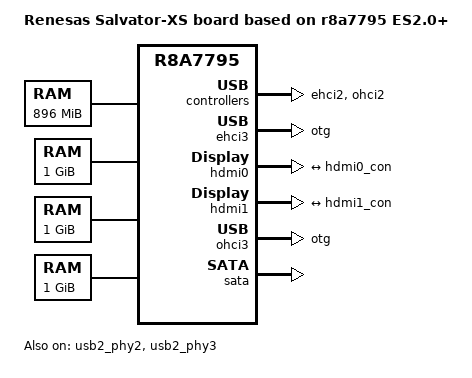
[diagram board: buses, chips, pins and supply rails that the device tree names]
// SPDX-License-Identifier: GPL-2.0
/*
 * Device Tree Source for the Salvator-XS board
 *
 * Copyright (C) 2018 Renesas Electronics Corporation
 */

/dts-v1/;
#include "r8a7795.dtsi"
#include "salvator-xs.dtsi"

/ {
	model = "Renesas Salvator-XS board based on r8a7795 ES2.0+";
	compatible = "renesas,salvator-xs", "renesas,r8a7795";

	memory@48000000 {
		device_type = "memory";
		/* first 128MB is reserved for secure area. */
		reg = <0x0 0x48000000 0x0 0x38000000>;
	};

	memory@500000000 {
		device_type = "memory";
		reg = <0x5 0x00000000 0x0 0x40000000>;
	};

	memory@600000000 {
		device_type = "memory";
		reg = <0x6 0x00000000 0x0 0x40000000>;
	};

	memory@700000000 {
		device_type = "memory";
		reg = <0x7 0x00000000 0x0 0x40000000>;
	};
};

&du {
	clocks = <&cpg CPG_MOD 724>,
		 <&cpg CPG_MOD 723>,
		 <&cpg CPG_MOD 722>,
		 <&cpg CPG_MOD 721>,
		 <&versaclock6 1>,
		 <&x21_clk>,
		 <&x22_clk>,
		 <&versaclock6 2>;
	clock-names = "du.0", "du.1", "du.2", "du.3",
		      "dclkin.0", "dclkin.1", "dclkin.2", "dclkin.3";
};

&ehci2 {
	status = "okay";
};

&ehci3 {
	dr_mode = "otg";
	status = "okay";
};

&hdmi0 {
	status = "okay";

	ports {
		port@1 {
			reg = <1>;
			rcar_dw_hdmi0_out: endpoint {
				remote-endpoint = <&hdmi0_con>;
			};
		};
	};
};

&hdmi0_con {
	remote-endpoint = <&rcar_dw_hdmi0_out>;
};

&hdmi1 {
	status = "okay";

	ports {
		port@1 {
			reg = <1>;
			rcar_dw_hdmi1_out: endpoint {
				remote-endpoint = <&hdmi1_con>;
			};
		};
	};
};

&hdmi1_con {
	remote-endpoint = <&rcar_dw_hdmi1_out>;
};

&ohci2 {
	status = "okay";
};

&ohci3 {
	dr_mode = "otg";
	status = "okay";
};

&pfc {
	usb2_pins: usb2 {
		groups = "usb2";
		function = "usb2";
	};

	/*
	 * - On Salvator-X[S], GP6_3[01] are connected to ADV7482 as irq pins
	 *   (when SW31 is the default setting on Salvator-XS).
	 * - If SW31 is the default setting, you cannot use USB2.0 ch3 on
	 *   r8a7795 with Salvator-XS.
	 *   Hence the SW31 setting must be changed like 2) below.
	 *   1) Default setting of SW31: ON-ON-OFF-OFF-OFF-OFF:
	 *      - Connect GP6_3[01] to ADV7842.
	 *   2) Changed setting of SW31: OFF-OFF-ON-ON-ON-ON:
	 *      - Connect GP6_3[01] to BD082065 (USB2.0 ch3's host power).
	 *      - Connect GP6_{04,21} to ADV7842.
	 */
	usb2_ch3_pins: usb2_ch3 {
		groups = "usb2_ch3";
		function = "usb2_ch3";
	};
};

&sata {
	status = "okay";
};

&usb2_phy2 {
	pinctrl-0 = <&usb2_pins>;
	pinctrl-names = "default";

	status = "okay";
};

&usb2_phy3 {
	pinctrl-0 = <&usb2_ch3_pins>;
	pinctrl-names = "default";

	status = "okay";
};
